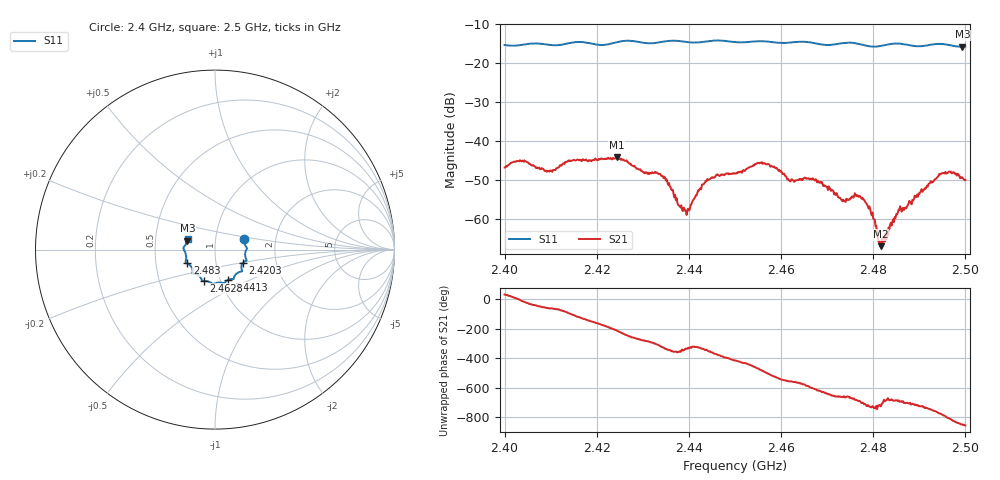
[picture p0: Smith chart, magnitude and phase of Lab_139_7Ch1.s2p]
# Hz S RI R 50
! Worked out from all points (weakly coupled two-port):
!   601 points, 2.4 GHz to 2.5 GHz, reference 50 ohm
!   highest |S21| = -44.15 dB at 2.4243 GHz (marker M1); lowest = -66.9 dB at 2.4817 GHz (marker M2)
!   lowest |S11| = -15.8 dB at 2.4993 GHz (marker M3), VSWR 1.39, Z = 36.5 + j3.72 ohm
!   |S11| at or under -10 dB: start of sweep to end of sweep
!   S12 and S22 are empty: the file has one direction only
!   S11 on the Smith chart (normalised r, x): 2.4 GHz: 1.37, +0.16; 2.4203 GHz: 1.35, -0.21; 2.4413 GHz: 1.09, -0.38; 2.4628 GHz: 0.83, -0.30; 2.483 GHz: 0.72, -0.11; 2.5 GHz: 0.73, +0.09
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2.4e9  0.1606 0.057  0.00384 0.00254  0 0  0 0
2.409833e9  0.1708 -0.00841  0.00208 -0.00367  0 0  0 0
2.416667e9  0.1762 -0.0615  -0.00327 -0.00451  0 0  0 0
2.420333e9  0.1552 -0.0739  -0.00567 -0.00163  0 0  0 0
2.424333e9  0.149 -0.1108  -0.00531 0.0032  0 0  0 0
2.433333e9  0.108 -0.1485  0.00242 0.00295  0 0  0 0
2.439e9  0.094 -0.1634  0.00133 0.000375  0 0  0 0
2.441333e9  0.0744 -0.1679  0.00156 0.00112  0 0  0 0
2.4445e9  0.054 -0.1846  0.00326 0.000243  0 0  0 0
2.45e9  0.0292 -0.1839  0.00213 -0.0032  0 0  0 0
2.456e9  -0.0122 -0.1905  -0.00311 -0.00409  0 0  0 0
2.462833e9  -0.063 -0.1747  -0.00281 0.00111  0 0  0 0
2.466667e9  -0.0742 -0.1675  -0.00152 0.00285  0 0  0 0
2.4735e9  -0.1211 -0.1344  0.000918 0.00153  0 0  0 0
2.4775e9  -0.1242 -0.1205  0.00178 0.000441  0 0  0 0
2.481667e9  -0.1441 -0.0829  0.000448 -6.73e-05  0 0  0 0
2.483e9  -0.1547 -0.0767  0.000581 0.00044  0 0  0 0
2.483333e9  -0.157 -0.0756  0.000594 0.000516  0 0  0 0
2.4855e9  -0.1639 -0.0698  0.00111 0.00073  0 0  0 0
2.494667e9  -0.1761 0.00944  0.00206 -0.00325  0 0  0 0
2.499333e9  -0.1543 0.0496  -0.00228 -0.00258  0 0  0 0
2.5e9  -0.1527 0.0587  -0.00236 -0.00215  0 0  0 0
